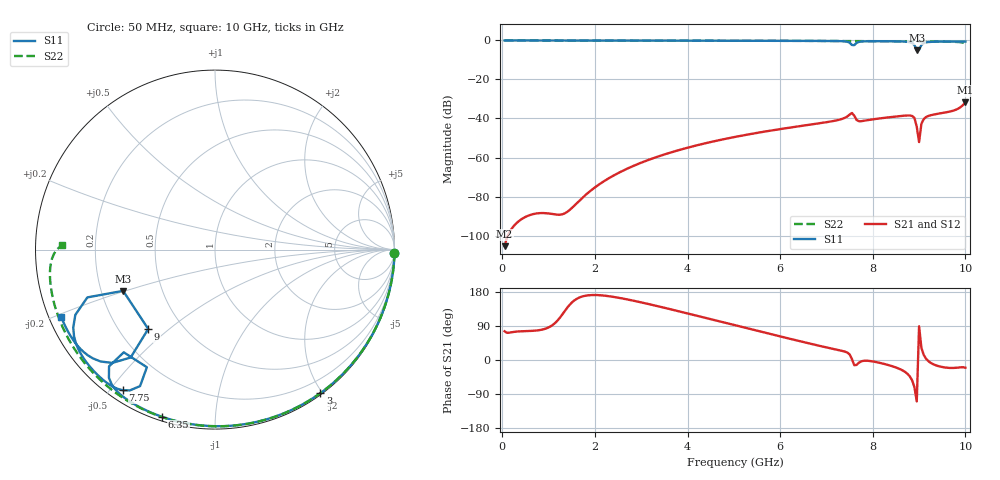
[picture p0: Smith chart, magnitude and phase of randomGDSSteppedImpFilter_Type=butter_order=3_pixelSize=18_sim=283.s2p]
! freq	dB(S11)	phase(S11)	dB(S12)	phase(S12)
!  dB(S21)	phase(S21)	dB(S22)	phase(S22)
!S-par simulation data
#  GHz  S  DB  R 50
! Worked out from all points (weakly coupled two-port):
!   200 points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, 50 MHz to 10 GHz, reference 50 ohm
!   highest |S21| = -31.70 dB at 10 GHz (marker M1); lowest = -105.4 dB at 50 MHz (marker M2)
!   lowest |S11| = -5.0 dB at 8.95 GHz (marker M3), VSWR 3.56, Z = 14.6 - j9.83 ohm
!   |S11| at or under -10 dB: nowhere
!   |S22| runs from -1.4 to 0.0 dB; largest |S21 - S12| = 0
!   S11 on the Smith chart (normalised r, x): 50 MHz: open; 3 GHz: 0.02, -1.97; 6.35 GHz: 0.02, -0.73; 7.75 GHz: 0.04, -0.54; 9 GHz: 0.32, -0.43; 10 GHz: 0.03, -0.21
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0.05  -0.00 -0.9  -105.44 75.8  -105.44 75.8  -0.00 -1.0
1.75  -0.04 -31.9  -80.21 168.4  -80.21 168.4  -0.04 -34.0
2.3  -0.05 -41.6  -70.63 168.4  -70.63 168.4  -0.06 -44.4
3  -0.07 -53.7  -62.65 152.1  -62.65 152.1  -0.07 -57.3
3.4  -0.08 -60.5  -59.21 140.8  -59.21 140.8  -0.09 -64.5
5.05  -0.13 -87.3  -49.33 90.9  -49.33 90.9  -0.14 -93.1
6.35  -0.20 -107.6  -44.18 51.8  -44.18 51.8  -0.21 -114.6
6.7  -0.22 -113.2  -42.97 41.6  -42.97 41.6  -0.24 -120.3
7.35  -0.39 -125.8  -40.11 23.7  -40.11 23.7  -0.29 -130.9
7.55  -2.32 -131.6  -37.17 2.4  -37.17 2.4  -0.30 -134.2
7.6  -2.41 -120.1  -38.56 -13.6  -38.56 -13.6  -0.31 -135.0
7.75  -0.56 -123.3  -41.39 -3.7  -41.39 -3.7  -0.32 -137.5
8.35  -0.40 -136.9  -39.38 -13.8  -39.38 -13.8  -0.38 -147.5
8.85  -1.32 -155.0  -38.70 -53.7  -38.70 -53.7  -0.45 -156.1
8.9  -2.39 -159.5  -39.72 -72.0  -39.72 -72.0  -0.46 -157.0
8.95  -5.02 -155.8  -44.28 -109.3  -44.28 -109.3  -0.46 -157.9
9  -4.76 -130.1  -52.09 89.2  -52.09 89.2  -0.47 -158.8
9.05  -2.35 -128.0  -42.73 32.1  -42.73 32.1  -0.47 -159.7
9.1  -1.39 -132.2  -40.29 13.5  -40.29 13.5  -0.48 -160.6
9.35  -0.61 -143.5  -37.83 -13.4  -37.83 -13.4  -0.53 -165.4
9.8  -0.56 -152.9  -35.45 -20.6  -35.45 -20.6  -0.75 -175.3
10  -0.58 -156.3  -31.70 -20.3  -31.70 -20.3  -1.37 178.3
